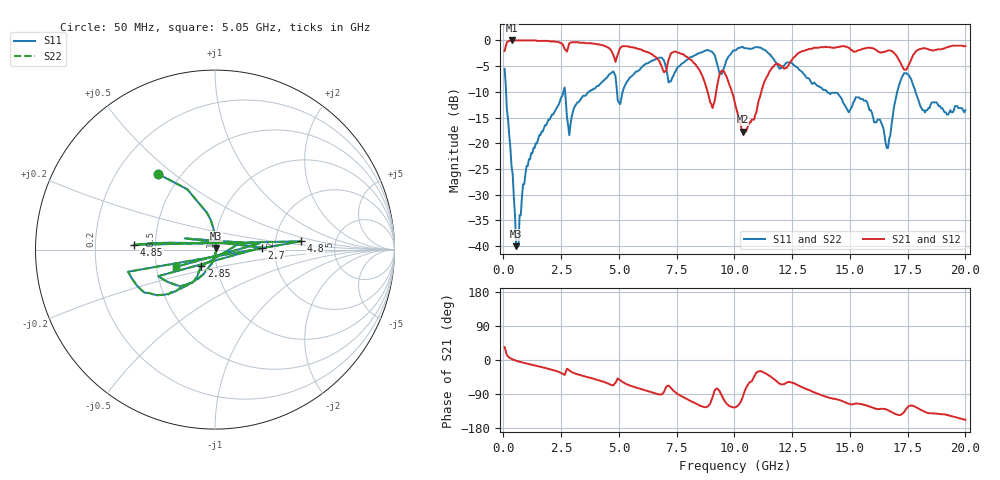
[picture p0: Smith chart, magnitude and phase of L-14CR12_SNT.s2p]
#	mhz	s	ma	r	50
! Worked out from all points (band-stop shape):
!   400 points, 50 MHz to 20 GHz, reference 50 ohm
!   highest |S21| = 0.00 dB at 350 MHz (marker M1); lowest = -17.7 dB at 10.35 GHz (marker M2)
!   |S21| within 3 dB of the highest: start of sweep to 4.772 GHz; 12.64 GHz to 17.02 GHz (4.375 GHz wide, 29.5 % of centre)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
!   lowest |S11| = -40.0 dB at 550 MHz (marker M3), VSWR 1.02, Z = 50.5 + j0.863 ohm
!   |S11| at or under -10 dB: 113.9 MHz to 2.594 GHz (2.48 GHz wide, 183 % of centre); 14.02 GHz to 17.05 GHz (3.027 GHz wide, 19.5 % of centre); 17.84 GHz to end of sweep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
!   |S22| runs from -40.0 to -1.2 dB; largest |S21 - S12| = 0
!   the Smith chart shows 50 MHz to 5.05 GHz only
!   S11 on the Smith chart (normalised r, x): 50 MHz: 0.37, +0.44; 2.7 GHz: 1.70, +0.04; 2.85 GHz: 0.85, -0.16; 4.8 GHz: 2.80, +0.33; 4.85 GHz: 0.38, +0.03; 5.05 GHz: 0.63, -0.13
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50  0.53 127.1  0.79 34.1  0.79 34.1  0.53 127.1
350  0.06 89.9  1 2.7  1 2.7  0.06 89.9
550  0.01 58.7  1 -1.9  1 -1.9  0.01 58.7
2650  0.35 -154.9  0.83 -39.4  0.83 -39.4  0.35 -154.9
2700  0.26 2.4  0.8 -31.2  0.8 -31.2  0.26 2.4
2850  0.12 -129.2  0.94 -27.2  0.94 -27.2  0.12 -129.2
3400  0.28 -130.5  0.95 -41.2  0.95 -41.2  0.28 -130.5
4750  0.5 -165.7  0.73 -67.1  0.73 -67.1  0.5 -165.7
4800  0.48 5.5  0.68 -63.7  0.68 -63.7  0.48 5.5
4850  0.45 176.6  0.62 -60.3  0.62 -60.3  0.45 176.6
5000  0.25 7.8  0.79 -50.6  0.79 -50.6  0.25 7.8
5050  0.24 -156.1  0.84 -52.8  0.84 -52.8  0.24 -156.1
6350  0.62 -178.0  0.75 -83.7  0.75 -83.7  0.62 -178.0
6400  0.63 0.8  0.74 -84.6  0.74 -84.6  0.63 0.8
6450  0.64 179.7  0.73 -85.6  0.73 -85.6  0.64 179.7
6700  0.67 170.4  0.65 -90.1  0.65 -90.1  0.67 170.4
10050  0.8 115.6  0.23 -124.7  0.23 -124.7  0.8 115.6
10350  0.87 106.7  0.13 -99.6  0.13 -99.6  0.87 106.7
13350  0.38 29.9  0.83 -82.9  0.83 -82.9  0.38 29.9
16700  0.11 84.5  0.8 -134.0  0.8 -134.0  0.11 84.5
17350  0.48 56.4  0.52 -137.1  0.52 -137.1  0.48 56.4
20000  0.21 -69.7  0.88 -157.8  0.88 -157.8  0.21 -69.7
